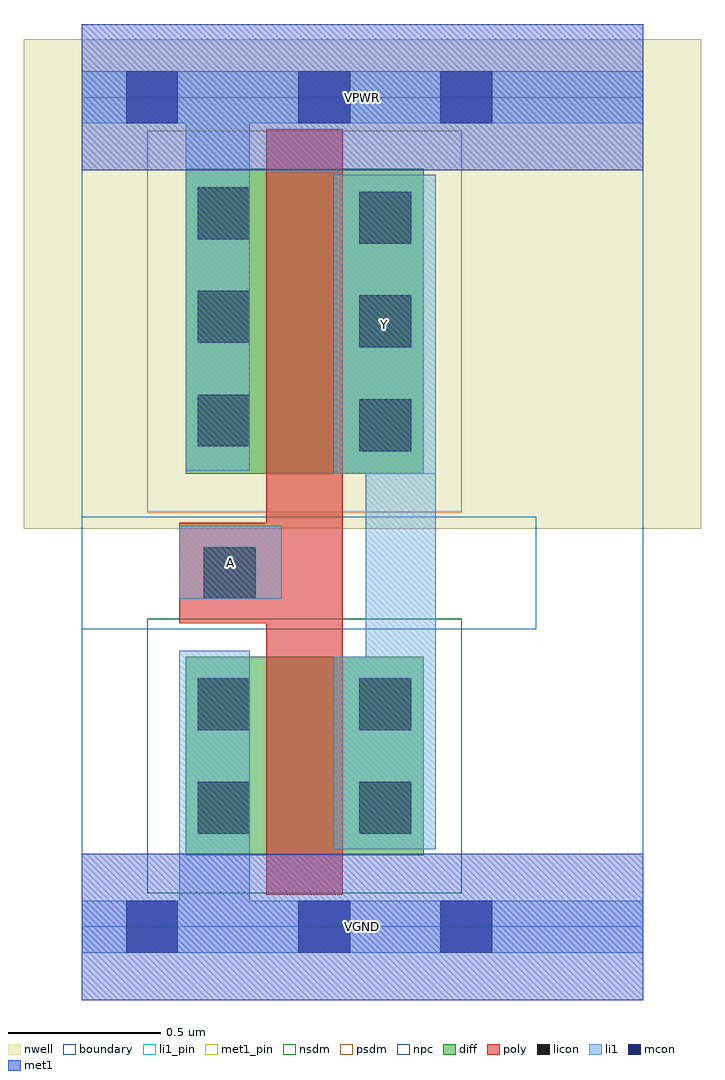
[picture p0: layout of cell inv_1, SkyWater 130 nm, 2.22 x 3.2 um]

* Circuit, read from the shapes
.subckt inv_1 A VGND VPWR Y
XM1 Y A VGND VSUBS sky130_fd_pr__nfet_01v8 w=0.65 l=0.25
XM2 Y A VPWR n1 sky130_fd_pr__pfet_01v8 w=1 l=0.25
.ends

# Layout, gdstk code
import gdstk
lib = gdstk.Library(unit=1e-6, precision=1e-09)
def R(c, l, rs):  # rectangles x0, y0, x1, y1
    for r in rs: c.add(gdstk.rectangle(r[:2], r[2:], *l))
def A(c, l, x, y, w, h, nx, ny, dx, dy):  # array of equal rectangles
    R(c, l, [(x+i*dx, y+j*dy, x+i*dx+w, y+j*dy+h) for i in range(nx) for j in range(ny)])
nwell = (64, 20)
diff = (65, 20)
poly = (66, 20)
licon = (66, 44)
li1_pin = (67, 16)
li1 = (67, 20)
mcon = (67, 44)
met1_pin = (68, 16)
met1 = (68, 20)
nsdm = (93, 44)
psdm = (94, 20)
npc = (95, 20)
boundary = (235, 4)

inv_1 = lib.new_cell('inv_1')
R(inv_1, nwell, [(-0.19,1.305,2.03,2.91), (0,1.305,1.84,2.91)])
R(inv_1, diff, [(0.34,0.235,1.12,0.885), (0.34,1.485,1.12,2.485)])
R(inv_1, poly, [(0.605,0.105,0.855,2.615), (0.32,0.995,0.855,1.325)])
A(inv_1, licon, 0.91, 1.56, 0.17, 0.17, 1, 3, 0, 0.34)
A(inv_1, licon, 0.38, 1.575, 0.17, 0.17, 1, 3, 0, 0.34)
R(inv_1, licon, [(0.38,0.305,0.55,0.475), (0.91,0.305,1.08,0.475), (0.38,0.645,0.55,0.815), (0.91,0.645,1.08,0.815), (0.4,1.075,0.57,1.245)])
R(inv_1, li1_pin, [(0.32,1.075,0.655,1.315), (0.825,1.485,1.16,2.465)])
R(inv_1, li1, [(0,-0.085,1.84,0.085), (0.32,-0.085,0.55,0.905), (0.825,0.255,1.16,0.885), (0.93,0.255,1.16,2.465), (0.32,1.075,0.655,1.315), (0.825,1.485,1.16,2.465), (0.34,1.495,0.55,2.805), (0,2.635,1.84,2.805)])
R(inv_1, mcon, [(0.145,-0.085,0.315,0.085), (0.71,-0.085,0.88,0.085), (1.175,-0.085,1.345,0.085), (0.145,2.635,0.315,2.805), (0.71,2.635,0.88,2.805), (1.175,2.635,1.345,2.805)])
R(inv_1, met1_pin, [(0,-0.24,1.84,0.24), (0,2.48,1.84,2.96)])
R(inv_1, met1, [(0,-0.24,1.84,0.24), (0,2.48,1.84,2.96)])
R(inv_1, nsdm, [(0.215,0.11,1.245,1.01)])
R(inv_1, psdm, [(0.215,1.36,1.245,2.61)])
R(inv_1, npc, [(0,0.975,1.49,1.345)])
R(inv_1, boundary, [(0,0,1.84,2.72)])
inv_1.add(gdstk.Label('A', (0.487,1.195), layer=67, texttype=5))
inv_1.add(gdstk.Label('Y', (0.992,1.975), layer=67, texttype=5))
inv_1.add(gdstk.Label('VPWR', (0.92,2.72), layer=68, texttype=5))
inv_1.add(gdstk.Label('VGND', (0.92,0), layer=68, texttype=5))
inv_1.add(gdstk.Label('A', (0.487,1.195), layer=67, texttype=16))
inv_1.add(gdstk.Label('Y', (0.992,1.975), layer=67, texttype=16))
inv_1.add(gdstk.Label('VPWR', (0.92,2.72), layer=68, texttype=16))
inv_1.add(gdstk.Label('VGND', (0.92,0), layer=68, texttype=16))

lib.write_gds('inv_1.gds')
